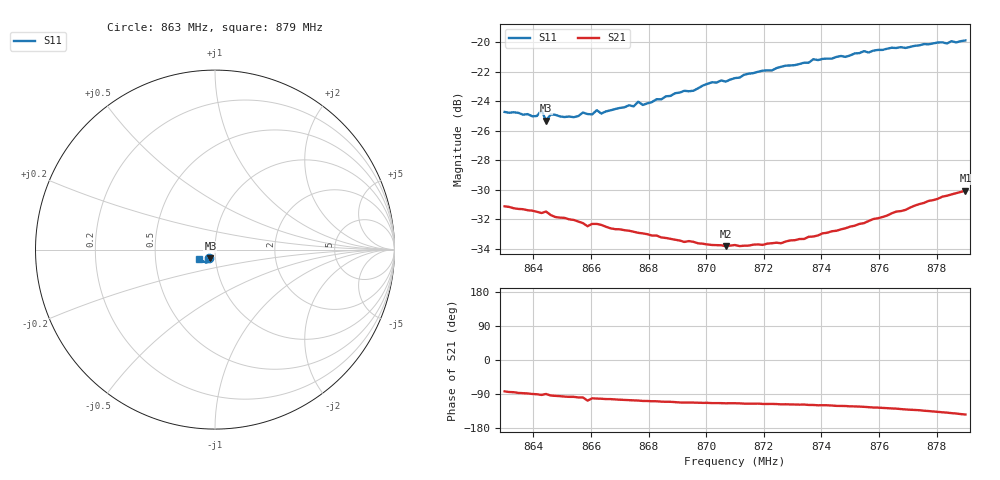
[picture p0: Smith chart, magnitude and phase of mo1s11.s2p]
# HZ S RI R 50
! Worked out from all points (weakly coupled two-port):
!   101 points, 863 MHz to 879 MHz, reference 50 ohm
!   highest |S21| = -30.07 dB at 879 MHz (marker M1); lowest = -33.8 dB at 870.68 MHz (marker M2)
!   lowest |S11| = -25.3 dB at 864.44 MHz (marker M3), VSWR 1.11, Z = 47.3 - j4.52 ohm
!   |S11| at or under -10 dB: start of sweep to end of sweep
!   S12 and S22 are empty: the file has one direction only
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8.63e8  -0.0324 -0.0481  0.00348 -0.0276  0 0  0 0
8.6396e8  -0.0294 -0.0477  0.000169 -0.0268  0 0  0 0
8.6412e8  -0.0291 -0.048  -0.000175 -0.0266  0 0  0 0
8.6428e8  -0.0308 -0.05  -0.001 -0.0263  0 0  0 0
8.6444e8  -0.0256 -0.0477  0.000158 -0.0267  0 0  0 0
8.646e8  -0.0287 -0.0491  -0.00171 -0.0259  0 0  0 0
8.654e8  -0.026 -0.0492  -0.00316 -0.0248  0 0  0 0
8.6572e8  -0.0253 -0.0518  -0.00377 -0.0241  0 0  0 0
8.6604e8  -0.0253 -0.0509  -0.00467 -0.0238  0 0  0 0
8.662e8  -0.0253 -0.053  -0.00495 -0.0237  0 0  0 0
8.6636e8  -0.0259 -0.051  -0.0051 -0.0235  0 0  0 0
8.6748e8  -0.0232 -0.0559  -0.00649 -0.0218  0 0  0 0
8.6764e8  -0.0254 -0.0574  -0.0066 -0.0216  0 0  0 0
8.678e8  -0.025 -0.0559  -0.00696 -0.0214  0 0  0 0
8.6844e8  -0.0248 -0.0589  -0.0074 -0.0205  0 0  0 0
8.702e8  -0.0305 -0.0664  -0.00828 -0.0188  0 0  0 0
8.7068e8  -0.0315 -0.0663  -0.00838 -0.0186  0 0  0 0
8.71e8  -0.035 -0.0668  -0.00839 -0.0187  0 0  0 0
8.726e8  -0.0443 -0.0695  -0.00949 -0.0185  0 0  0 0
8.7372e8  -0.0501 -0.0717  -0.0105 -0.0193  0 0  0 0
8.7644e8  -0.0711 -0.0639  -0.0161 -0.0208  0 0  0 0
8.79e8  -0.0878 -0.0503  -0.0253 -0.0185  0 0  0 0
